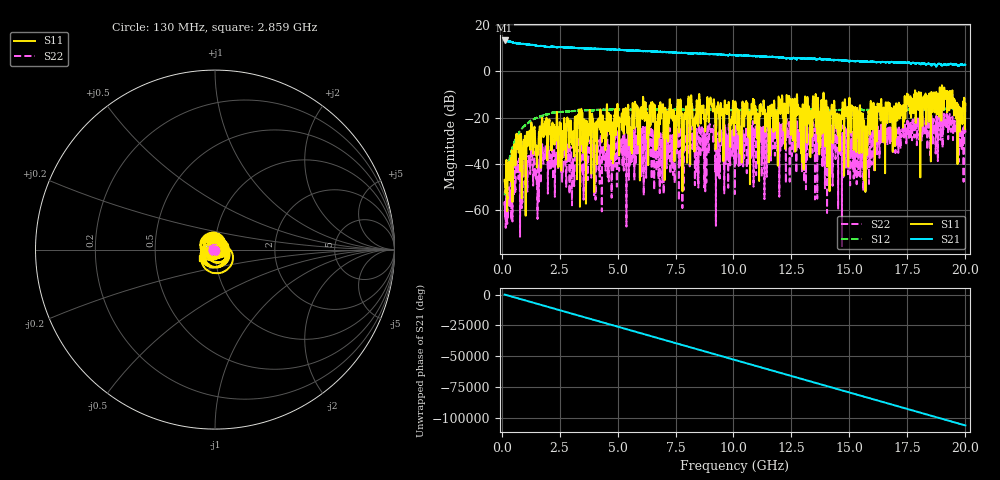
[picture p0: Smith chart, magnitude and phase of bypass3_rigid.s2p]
!Created with skrf (http://scikit-rf.org).
# GHz S RI R 50.0
!freq ReS11 ImS11 ReS21 ImS21 ReS12 ImS12 ReS22 ImS22
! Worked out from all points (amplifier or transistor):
!   20013 points, 130 MHz to 20 GHz, reference 50 ohm
!   highest |S21| = 13.4 dB at 130 MHz (marker M1)
!   |S21| within 3 dB of that: start of sweep to 2.72 GHz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
!   unconditionally stable (mu >= 1): start of sweep to end of sweep
!   at 3.465 GHz: K = 1.32, MAG = 10.1 dB, |S12| = -16.9 dB
!   at 10.14 GHz: K = 1.66, MAG = 7.2 dB, |S12| = -16.8 dB
!   at 20 GHz: K = 2.29, MAG = 3.1 dB, |S12| = -16.0 dB
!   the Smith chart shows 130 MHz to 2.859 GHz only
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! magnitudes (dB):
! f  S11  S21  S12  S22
! 130 MHz  -47.0  13.4  -53.7  -58.1
! 701 MHz  -29.7  12.2  -27.5  -40.8
! 959 MHz  -29.9  11.9  -23.8  -40.1
! 1.234 GHz  -32.2  11.5  -21.5  -44.5
! 1.525 GHz  -39.9  11.1  -20.0  -47.9
! 1.823 GHz  -26.5  11.0  -19.0  -35.6
! 3.442 GHz  -16.5  10.1  -16.9  -29.0
! 5.377 GHz  -21.4  9.2  -16.6  -38.7
! 5.528 GHz  -25.8  9.1  -16.6  -35.1
! 6.126 GHz  -16.2  8.9  -16.4  -40.7
! 6.754 GHz  -19.4  8.5  -16.5  -30.0
! 10.06 GHz  -15.2  7.0  -16.8  -32.2
! 10.27 GHz  -21.5  7.0  -16.6  -26.4
! 10.47 GHz  -16.1  6.9  -16.7  -30.6
! 13.38 GHz  -26.9  5.5  -16.5  -26.7
! 15.07 GHz  -19.9  4.5  -16.7  -31.9
! 15.7 GHz  -31.6  4.4  -16.7  -29.0
! 15.96 GHz  -14.9  4.3  -16.5  -32.6
! 16.69 GHz  -15.6  4.0  -16.7  -26.3
! 16.9 GHz  -24.1  4.0  -16.6  -27.3
! 17.55 GHz  -11.4  3.8  -16.5  -24.1
! 20 GHz  -14.0  2.9  -16.0  -26.5
